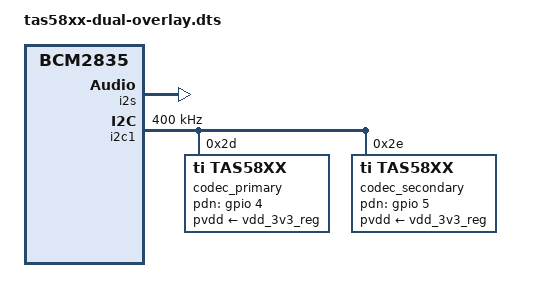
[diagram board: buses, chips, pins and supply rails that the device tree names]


/dts-v1/;
/plugin/;

/ {
    compatible = "brcm,bcm2835";

    fragment@0 {
        target = <&i2s>;
        __overlay__ {
            status = "okay";
        };
    };

    fragment@1 {
        target = <&i2c1>;
        __overlay__ {
            status = "okay";
            clock-frequency = <400000>;
            #address-cells = <1>;
            #size-cells = <0>;

            codec_primary: tas58xx@2d {
                #sound-dai-cells = <0>;
                compatible = "ti,tas58xx";
                reg = <0x2d>;
                pvdd-supply = <&vdd_3v3_reg>;
                pdn-gpios = <&gpio 4 0>;
                sound-name-prefix = "2.0";

                ti,modulation-mode = <0>;

                ti,switching-freq = <0>;

                ti,eq-mode = <1>;

                ti,mixer-mode = <0>;

            };

            codec_secondary: tas58xx@2e {
                #sound-dai-cells = <0>;
                compatible = "ti,tas58xx";
                reg = <0x2e>;
                pvdd-supply = <&vdd_3v3_reg>;
                pdn-gpios = <&gpio 5 0>;
                sound-name-prefix = "0.1";

                ti,modulation-mode = <1>;

                ti,switching-freq = <0>;

                ti,bridge-mode;

                ti,eq-mode = <2>;

                ti,mixer-mode = <1>;

            };
        };
    };

    fragment@2 {
        target = <&sound>;
        __overlay__ {
            status = "okay";
            compatible = "simple-audio-card";
            label = "Louder-Raspberry-Dual";
            simple-audio-card,format = "i2s";
            simple-audio-card,bitclock-master = <&cpu_dai>;
            simple-audio-card,frame-master = <&cpu_dai>;
            simple-audio-card,aux-devs = <&codec_secondary>;
            simple-audio-card,widgets =
                "Speaker", "Stereo Speaker",
                "Speaker", "Subwoofer";
            simple-audio-card,routing =
                "Stereo Speaker", "2.0 OUTA",
                "Stereo Speaker", "2.0 OUTB",
                "Subwoofer", "0.1 OUTA",
                "Subwoofer", "0.1 OUTB",
                "0.1 DAC IN", "2.0 DAC";

            cpu_dai: simple-audio-card,cpu {
                sound-dai = <&i2s>;
                dai-tdm-slot-num = <2>;
                dai-tdm-slot-width = <32>;
            };

            simple-audio-card,codec {
                sound-dai = <&codec_primary>;
            };
        };
    };

    __overrides__ {
        firmware_primary = <&codec_primary>,"ti,dsp-config-name";
        firmware_secondary = <&codec_secondary>,"ti,dsp-config-name";
        i2creg_primary = <&codec_primary>,"reg:<>";
        i2creg_secondary = <&codec_secondary>,"reg:<>";
        pdn_gpio_primary = <&codec_primary>,"pdn-gpios:4";
        pdn_gpio_secondary = <&codec_secondary>,"pdn-gpios:5";
        fault_monitor_primary = <&codec_primary>,"ti,fault-monitor?";
        fault_monitor_secondary = <&codec_secondary>,"ti,fault-monitor?";
    };
};
